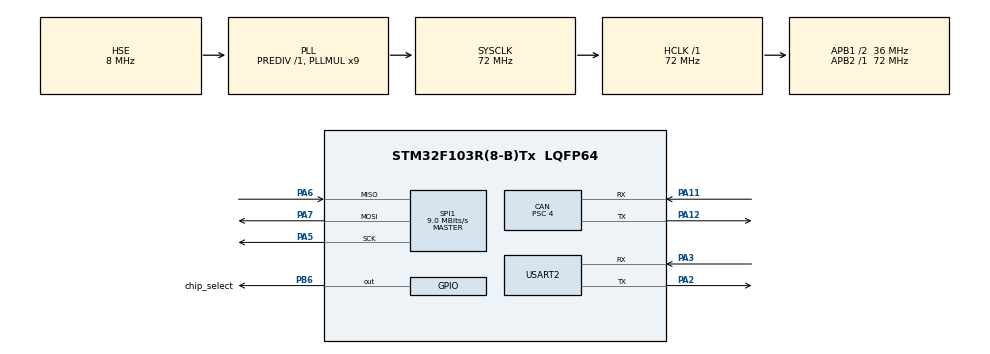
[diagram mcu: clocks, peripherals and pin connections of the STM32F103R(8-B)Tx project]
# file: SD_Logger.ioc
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CAN.BS1=CAN_BS1_13TQ
CAN.BS2=CAN_BS2_4TQ
CAN.CalculateBaudRate=500000
CAN.CalculateTimeBit=2000
CAN.CalculateTimeQuantum=111.11111111111111
CAN.Prescaler=4
FATFS._MAX_SS=4096
FATFS._USE_LFN=3
Mcu.Family=STM32F1
Mcu.Name=STM32F103R(8-B)Tx
Mcu.Package=LQFP64
NVIC.PriorityGroup=NVIC_PRIORITYGROUP_4
PA11.Mode=CAN_Activate
PA11.Signal=CAN_RX
PA12.Mode=CAN_Activate
PA12.Signal=CAN_TX
PA13.Mode=Serial_Wire
PA13.Signal=SYS_JTMS-SWDIO
PA14.Mode=Serial_Wire
PA14.Signal=SYS_JTCK-SWCLK
PA2.Mode=Asynchronous
PA2.Signal=USART2_TX
PA3.Mode=Asynchronous
PA3.Signal=USART2_RX
PA5.Mode=Full_Duplex_Master
PA5.Signal=SPI1_SCK
PA6.Mode=Full_Duplex_Master
PA6.Signal=SPI1_MISO
PA7.Mode=Full_Duplex_Master
PA7.Signal=SPI1_MOSI
PB6.GPIO_Label=chip_select
PB6.Signal=GPIO_Output
PD0-OSC_IN.Mode=HSE-External-Oscillator
PD0-OSC_IN.Signal=RCC_OSC_IN
PD1-OSC_OUT.Mode=HSE-External-Oscillator
PD1-OSC_OUT.Signal=RCC_OSC_OUT
ProjectManager.HeapSize=0x200
ProjectManager.StackSize=0x400
ProjectManager.TargetToolchain=STM32CubeIDE
RCC.AHBFreq_Value=72000000
RCC.APB1CLKDivider=RCC_HCLK_DIV2
RCC.APB1Freq_Value=36000000
RCC.APB1TimFreq_Value=72000000
RCC.APB2Freq_Value=72000000
RCC.APB2TimFreq_Value=72000000
RCC.HCLKFreq_Value=72000000
RCC.PLLMUL=RCC_PLL_MUL9
RCC.PLLSourceVirtual=RCC_PLLSOURCE_HSE
RCC.RTCClockSelection=RCC_RTCCLKSOURCE_LSE
RCC.SYSCLKFreq_VALUE=72000000
RCC.SYSCLKSource=RCC_SYSCLKSOURCE_PLLCLK
RCC.USBFreq_Value=72000000
SPI1.BaudRatePrescaler=SPI_BAUDRATEPRESCALER_8
SPI1.CalculateBaudRate=9.0 MBits/s
SPI1.Direction=SPI_DIRECTION_2LINES
SPI1.Mode=SPI_MODE_MASTER
SPI1.VirtualType=VM_MASTER
USART2.VirtualMode=VM_ASYNC
VP_FATFS_VS_Generic.Mode=User_defined
board=NUCLEO-F103RB

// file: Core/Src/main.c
/* USER CODE BEGIN Header */
/**
  ******************************************************************************
  * @file           : main.c
  * @brief          : Main program body
  ******************************************************************************
  * @attention
  *
  * Copyright (c) 2023 STMicroelectronics.
  * All rights reserved.
  *
  * This software is licensed under terms that can be found in the LICENSE file
  * in the root directory of this software component.
  * If no LICENSE file comes with this software, it is provided AS-IS.
  *
  ******************************************************************************
  */
/* USER CODE END Header */
#include "main.h"
#include "fatfs.h"

/* USER CODE BEGIN Includes */
#include "fatfs_sd.h"
#include "string.h"
#include "stdio.h"
#include "time.h"
#include "stdlib.h"

#include "sdcard.h"

/* USER CODE END Includes */

CAN_HandleTypeDef hcan;

SPI_HandleTypeDef hspi1;

UART_HandleTypeDef huart2;

/* USER CODE BEGIN PV */

//  defining struct for CAN rx header
CAN_RxHeaderTypeDef CAN_rx_header;
uint8_t CAN_rx_data[8];

// Define struct for CAN data
struct CAN_DATA{
	uint16_t ID;
	uint64_t DATA;
	uint64_t TIME;
	uint8_t LENGTH;
};

// Create the struct for CAN data
struct CAN_DATA CAN_DATA;

/* USER CODE END PV */

void SystemClock_Config(void);
static void MX_GPIO_Init(void);
static void MX_SPI1_Init(void);
static void MX_USART2_UART_Init(void);
static void MX_CAN_Init(void);

/* USER CODE BEGIN 0 */

FATFS fs;				// file system
FRESULT fresult;		// to store the result
char buffer[1024];		// to store data in buffer

/* to send the data to the uart */
void send_uart (char *string)
{
	uint8_t len = strlen(string);
	HAL_UART_Transmit(&huart2, (uint8_t *) string, len, 2000);	// transmit in blocking mode

}

void bufclear(void)	// Clear buffer so that strings are actually written to the file
{
	for (int i = 0; i < 1024; i++)
	{
		buffer[i] = '\0';
	}
}

/* USER CODE END 0 */

int main(void)
{

  /* MCU Configuration--------------------------------------------------------*/

  /* Reset of all peripherals, Initializes the Flash interface and the Systick. */
  HAL_Init();

  /* Configure the system clock */
  SystemClock_Config();

  /* Initialize all configured peripherals */
  MX_GPIO_Init();
  MX_FATFS_Init();
  MX_SPI1_Init();
  MX_USART2_UART_Init();
  MX_CAN_Init();
  /* USER CODE BEGIN 2 */

  // Create a pointer to the FATFS type file
  FIL *file_pointer = sd_open("my_file_name.txt");

  // Append to the file (regardless of empty or not)

  /* Set Example CAN Data */
  CAN_DATA.ID = 0xBBB;		// First AAA then BBB
  CAN_DATA.DATA = 0x8324;
  CAN_DATA.TIME = 28492;
  CAN_DATA.LENGTH = 8;

  char SD_message[64] = "";
  sprintf(SD_message, "ID: %#.3x, Data: %#.4x, Timestamp: %d, Length: %d\n", CAN_DATA.ID, CAN_DATA.DATA, CAN_DATA.TIME, CAN_DATA.LENGTH);

  // Append to the file 2 times
  for (int i = 0; i < 2; i++)
  {
	  sd_append(file_pointer, SD_message);
  }

  // Close the file
  sd_close(file_pointer);

//  /* mount SD card */
//  fresult = f_mount(&fs, "", 0);
//  if(fresult != FR_OK)
//	  send_uart ("error in mounting SD CARD...\n");
//  else
//	  send_uart ("SD Card mounted successfully...\n");
//
//
//  /* Create a RANDOM file name for the SD card */
//  // Does not actually give random each time we require RTC.
//  srand((unsigned int)time(NULL));
//
//  int random_number = rand() % 100000;
//  char fileName[16];
//  sprintf(fileName, "CANLOG%05d.txt", random_number);
//
//  /* CAN Setup */
//  HAL_CAN_Start(&hcan);
//
//  // Open the file (Create always necessary)
//  fresult = f_open(&fil, fileName, FA_WRITE | FA_OPEN_ALWAYS);
//  if (fresult == FR_OK) {
//      /* Seek to end of the file to append data */
//      fresult = f_lseek(&fil, f_size(&fil));
//      if (fresult != FR_OK)
//          f_close(&fil);
//  }
//
//  /* Set Example CAN Data */
//  CAN_DATA.ID = 0xBEF;
//  CAN_DATA.DATA = 0x8324;
//  CAN_DATA.TIME = 28492;
//  CAN_DATA.LENGTH = 8;
//
//  // Create message with CAN data and put it in the file 10 times
//  char SD_message[64] = "";
//  sprintf(SD_message, "ID: %#.3x, Data: %#.4x, Timestamp: %d, Length: %d\n", CAN_DATA.ID, CAN_DATA.DATA, CAN_DATA.TIME, CAN_DATA.LENGTH);

//  // writing CAN line to SD card
//  for (int i = 0; i < 7; i++)
//  {
//	  fresult = f_puts(SD_message, &fil);
//	  bufclear();
//  }
//
//  // Close file and clear the buffer so the string is actually written to the file
//  fresult = f_close(&fil);

  /* USER CODE END 2 */

  /* Infinite loop */
  while (1)
  {

  }
}

void SystemClock_Config(void)
{
  RCC_OscInitTypeDef RCC_OscInitStruct = {0};
  RCC_ClkInitTypeDef RCC_ClkInitStruct = {0};

  /** Initializes the RCC Oscillators according to the specified parameters
  * in the RCC_OscInitTypeDef structure.
  */
  RCC_OscInitStruct.OscillatorType = RCC_OSCILLATORTYPE_HSE;
  RCC_OscInitStruct.HSEState = RCC_HSE_ON;
  RCC_OscInitStruct.HSEPredivValue = RCC_HSE_PREDIV_DIV1;
  RCC_OscInitStruct.HSIState = RCC_HSI_ON;
  RCC_OscInitStruct.PLL.PLLState = RCC_PLL_ON;
  RCC_OscInitStruct.PLL.PLLSource = RCC_PLLSOURCE_HSE;
  RCC_OscInitStruct.PLL.PLLMUL = RCC_PLL_MUL9;
  if (HAL_RCC_OscConfig(&RCC_OscInitStruct) != HAL_OK)
  {
    Error_Handler();
  }

  /** Initializes the CPU, AHB and APB buses clocks
  */
  RCC_ClkInitStruct.ClockType = RCC_CLOCKTYPE_HCLK|RCC_CLOCKTYPE_SYSCLK
                              |RCC_CLOCKTYPE_PCLK1|RCC_CLOCKTYPE_PCLK2;
  RCC_ClkInitStruct.SYSCLKSource = RCC_SYSCLKSOURCE_PLLCLK;
  RCC_ClkInitStruct.AHBCLKDivider = RCC_SYSCLK_DIV1;
  RCC_ClkInitStruct.APB1CLKDivider = RCC_HCLK_DIV2;
  RCC_ClkInitStruct.APB2CLKDivider = RCC_HCLK_DIV1;

  if (HAL_RCC_ClockConfig(&RCC_ClkInitStruct, FLASH_LATENCY_2) != HAL_OK)
  {
    Error_Handler();
  }
}

static void MX_CAN_Init(void)
{

  hcan.Instance = CAN1;
  hcan.Init.Prescaler = 4;
  hcan.Init.Mode = CAN_MODE_NORMAL;
  hcan.Init.SyncJumpWidth = CAN_SJW_1TQ;
  hcan.Init.TimeSeg1 = CAN_BS1_13TQ;
  hcan.Init.TimeSeg2 = CAN_BS2_4TQ;
  hcan.Init.TimeTriggeredMode = DISABLE;
  hcan.Init.AutoBusOff = DISABLE;
  hcan.Init.AutoWakeUp = DISABLE;
  hcan.Init.AutoRetransmission = DISABLE;
  hcan.Init.ReceiveFifoLocked = DISABLE;
  hcan.Init.TransmitFifoPriority = DISABLE;
  if (HAL_CAN_Init(&hcan) != HAL_OK)
  {
    Error_Handler();
  }

}

static void MX_SPI1_Init(void)
{

  /* SPI1 parameter configuration*/
  hspi1.Instance = SPI1;
  hspi1.Init.Mode = SPI_MODE_MASTER;
  hspi1.Init.Direction = SPI_DIRECTION_2LINES;
  hspi1.Init.DataSize = SPI_DATASIZE_8BIT;
  hspi1.Init.CLKPolarity = SPI_POLARITY_LOW;
  hspi1.Init.CLKPhase = SPI_PHASE_1EDGE;
  hspi1.Init.NSS = SPI_NSS_SOFT;
  hspi1.Init.BaudRatePrescaler = SPI_BAUDRATEPRESCALER_8;
  hspi1.Init.FirstBit = SPI_FIRSTBIT_MSB;
  hspi1.Init.TIMode = SPI_TIMODE_DISABLE;
  hspi1.Init.CRCCalculation = SPI_CRCCALCULATION_DISABLE;
  hspi1.Init.CRCPolynomial = 10;
  if (HAL_SPI_Init(&hspi1) != HAL_OK)
  {
    Error_Handler();
  }

}

static void MX_USART2_UART_Init(void)
{

  huart2.Instance = USART2;
  huart2.Init.BaudRate = 115200;
  huart2.Init.WordLength = UART_WORDLENGTH_8B;
  huart2.Init.StopBits = UART_STOPBITS_1;
  huart2.Init.Parity = UART_PARITY_NONE;
  huart2.Init.Mode = UART_MODE_TX_RX;
  huart2.Init.HwFlowCtl = UART_HWCONTROL_NONE;
  huart2.Init.OverSampling = UART_OVERSAMPLING_16;
  if (HAL_UART_Init(&huart2) != HAL_OK)
  {
    Error_Handler();
  }

}

static void MX_GPIO_Init(void)
{
  GPIO_InitTypeDef GPIO_InitStruct = {0};

  /* GPIO Ports Clock Enable */
  __HAL_RCC_GPIOD_CLK_ENABLE();
  __HAL_RCC_GPIOA_CLK_ENABLE();
  __HAL_RCC_GPIOB_CLK_ENABLE();

  /*Configure GPIO pin Output Level */
  HAL_GPIO_WritePin(chip_select_GPIO_Port, chip_select_Pin, GPIO_PIN_RESET);

  /*Configure GPIO pin : chip_select_Pin */
  GPIO_InitStruct.Pin = chip_select_Pin;
  GPIO_InitStruct.Mode = GPIO_MODE_OUTPUT_PP;
  GPIO_InitStruct.Pull = GPIO_NOPULL;
  GPIO_InitStruct.Speed = GPIO_SPEED_FREQ_LOW;
  HAL_GPIO_Init(chip_select_GPIO_Port, &GPIO_InitStruct);

}

void Error_Handler(void)
{
  __disable_irq();
  while (1)
  {
  }
}
